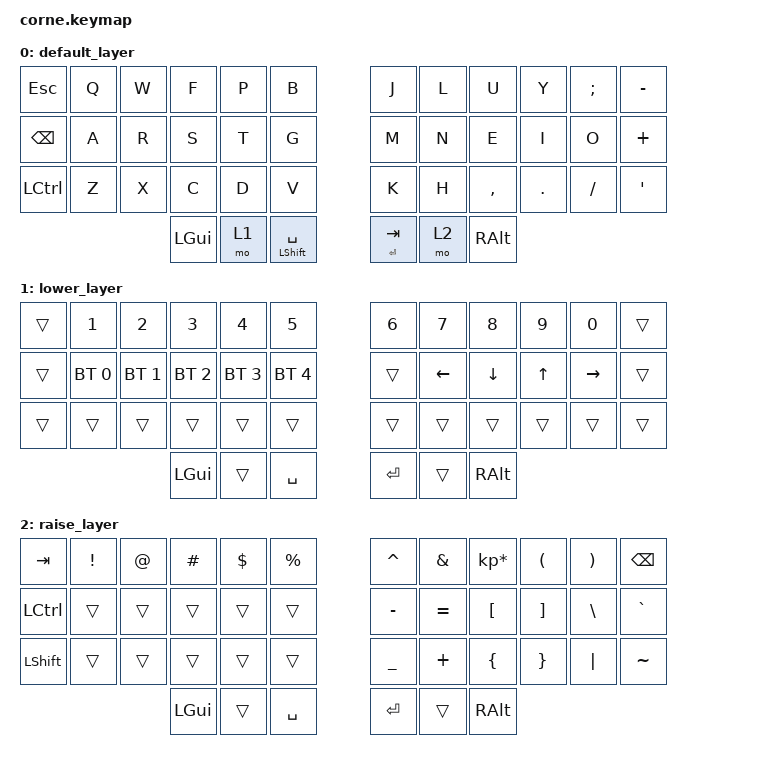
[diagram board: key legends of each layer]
/*
 * Copyright (c) 2020 The ZMK Contributors
 *
 * SPDX-License-Identifier: MIT
 */

#include <behaviors.dtsi>
#include <dt-bindings/zmk/keys.h>
#include <dt-bindings/zmk/bt.h>

/ {
        keymap {
                compatible = "zmk,keymap";

                default_layer {
                        bindings = <
   &kp ESC   &kp Q &kp W &kp F    &kp P &kp B           &kp J          &kp L &kp U     &kp Y   &kp SEMI &kp MINUS
   &kp BSPC  &kp A &kp R &kp S    &kp T &kp G           &kp M          &kp N &kp E     &kp I   &kp O    &kp PLUS
   &kp LCTRL &kp Z &kp X &kp C    &kp D &kp V           &kp K          &kp H &kp COMMA &kp DOT &kp FSLH &kp SQT
                         &kp LGUI &mo 1 &mt LSHFT SPACE &mt RET TAB  &mo 2 &kp RALT
                        >;
                };
                lower_layer {
                        bindings = <
   &trans &kp N1       &kp N2       &kp N3       &kp N4       &kp N5         &kp N6   &kp N7   &kp N8   &kp N9 &kp N0    &trans
   &trans &bt BT_SEL 0 &bt BT_SEL 1 &bt BT_SEL 2 &bt BT_SEL 3 &bt BT_SEL 4   &trans   &kp LEFT &kp DOWN &kp UP &kp RIGHT &trans
   &trans &trans       &trans       &trans       &trans       &trans         &trans   &trans   &trans   &trans &trans    &trans
                                    &kp LGUI     &trans       &kp SPACE      &kp RET  &trans   &kp RALT
                        >;
                };

                raise_layer {
// -----------------------------------------------------------------------------------------
// |  TAB |  !  |  @  |  #  |  $  |  %  |   |  ^  |  &  |  *  |  (  |  )  | BKSP |
// | CTRL |     |     |     |     |     |   |  -  |  =  |  [  |  ]  |  \  |  `   |
// | SHFT |     |     |     |     |     |   |  _  |  +  |  {  |  }  | "|" |  ~   |
//                    | GUI |     | SPC |   | ENT |     | ALT |
                        bindings = <
   &kp  TAB  &kp EXCL &kp AT &kp HASH &kp DLLR &kp PRCNT   &kp CARET &kp AMPS  &kp KP_MULTIPLY &kp LPAR &kp RPAR &kp BSPC
   &kp LCTRL &trans   &trans &trans   &trans   &trans      &kp MINUS &kp EQUAL &kp LBKT        &kp RBKT &kp BSLH &kp GRAVE
   &kp LSHFT &trans   &trans &trans   &trans   &trans      &kp UNDER &kp PLUS  &kp LBRC        &kp RBRC &kp PIPE &kp TILDE
                             &kp LGUI &trans   &kp SPACE   &kp RET   &trans    &kp RALT
                        >;
                };
        };
};
